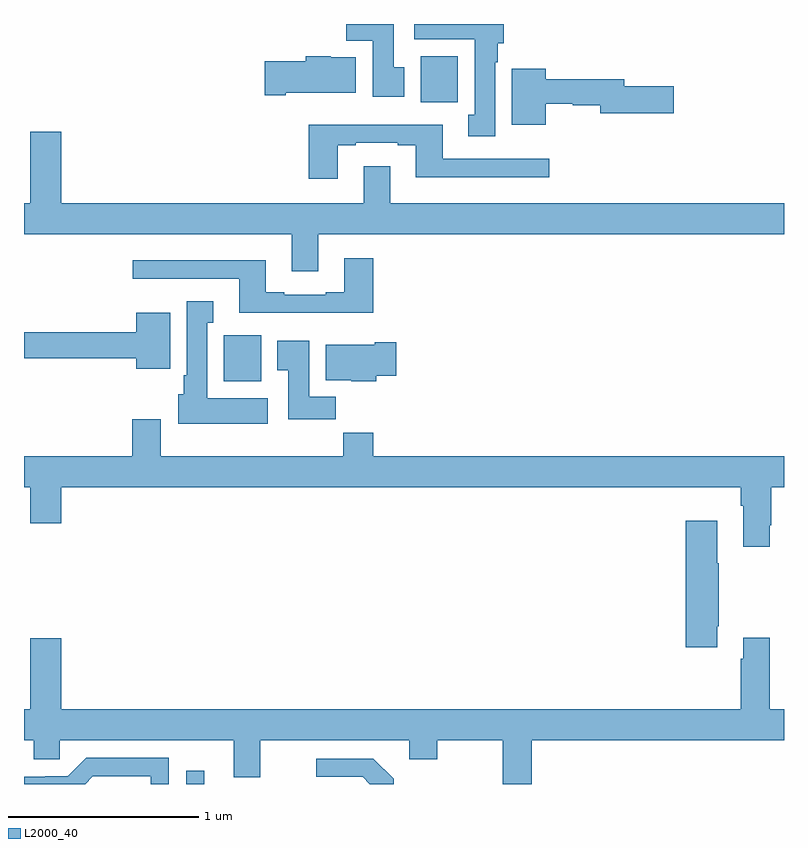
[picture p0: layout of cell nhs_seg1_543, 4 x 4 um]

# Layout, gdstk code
import gdstk
lib = gdstk.Library(unit=1e-6, precision=1e-09)
def R(c, l, rs):  # rectangles x0, y0, x1, y1
    for r in rs: c.add(gdstk.rectangle(r[:2], r[2:], *l))
def P(c, l, *ps):  # polygons
    for p in ps: c.add(gdstk.Polygon(p, *l))
L2000_40 = (2000, 40)

nhs_seg1_543 = lib.new_cell('nhs_seg1_543')
R(nhs_seg1_543, L2000_40, [(141.853,522.199,141.949,522.27), (142.052,524.318,142.249,524.56), (143.087,525.788,143.284,526.03)])
P(nhs_seg1_543, L2000_40, [(143.479,525.998),(143.494,525.998),(143.494,526.098),(143.524,526.098),(143.524,526.199),(143.055,526.199),(143.055,526.118),(143.372,526.118),(143.372,525.722),(143.339,525.722),(143.339,525.609),(143.479,525.609)],
  [(143.002,525.972),(142.945,525.972),(142.945,526.199),(142.696,526.199),(142.696,526.112),(142.835,526.112),(142.835,525.816),(143.002,525.816)],
  [(142.378,525.836),(142.747,525.836),(142.747,526.024),(142.614,526.024),(142.614,526.03),(142.484,526.03),(142.484,526.002),(142.266,526.002),(142.266,525.824),(142.378,525.824)],
  [(143.746,525.78),(143.889,525.78),(143.889,525.772),(144.032,525.772),(144.032,525.73),(144.421,525.73),(144.421,525.872),(144.16,525.872),(144.16,525.908),(143.746,525.908),(143.746,525.964),(143.567,525.964),(143.567,525.668),(143.746,525.668)],
  [(142.651,525.561),(142.747,525.561),(142.747,525.573),(142.967,525.573),(142.967,525.561),(143.063,525.561),(143.063,525.392),(143.764,525.392),(143.764,525.489),(143.203,525.489),(143.203,525.67),(142.499,525.67),(142.499,525.384),(142.651,525.384)],
  [(142.549,525.092),(145,525.092),(145,525.256),(142.927,525.256),(142.927,525.451),(142.787,525.451),(142.787,525.256),(141.196,525.256),(141.196,525.631),(141.032,525.631),(141.032,525.256),(141,525.256),(141,525.092),(142.409,525.092),(142.409,524.898),(142.549,524.898)],
  [(142.838,524.965),(142.685,524.965),(142.685,524.788),(142.589,524.788),(142.589,524.775),(142.369,524.775),(142.369,524.788),(142.273,524.788),(142.273,524.956),(141.573,524.956),(141.573,524.859),(142.133,524.859),(142.133,524.678),(142.838,524.678)],
  [(142.282,524.23),(141.964,524.23),(141.964,524.627),(141.997,524.627),(141.997,524.74),(141.857,524.74),(141.857,524.35),(141.842,524.35),(141.842,524.25),(141.812,524.25),(141.812,524.096),(142.282,524.096)],
  [(141.769,524.68),(141.59,524.68),(141.59,524.576),(141,524.576),(141,524.44),(141.59,524.44),(141.59,524.384),(141.769,524.384)],
  [(142.64,524.236),(142.501,524.236),(142.501,524.533),(142.334,524.533),(142.334,524.377),(142.391,524.377),(142.391,524.118),(142.64,524.118)],
  [(142.853,524.347),(142.96,524.347),(142.96,524.525),(142.847,524.525),(142.847,524.512),(142.589,524.512),(142.589,524.324),(142.722,524.324),(142.722,524.318),(142.853,524.318)],
  [(142.838,524.048),(142.681,524.048),(142.681,523.924),(141.721,523.924),(141.721,524.119),(141.569,524.119),(141.569,523.924),(141,523.924),(141,523.76),(141.032,523.76),(141.032,523.572),(141.196,523.572),(141.196,523.76),(144.773,523.76),(144.773,523.664),(144.785,523.664),(144.785,523.449),(144.925,523.449),(144.925,523.561),(144.933,523.561),(144.933,523.76),(145,523.76),(145,523.924),(142.838,523.924)],
  [(144.649,523.03),(144.657,523.03),(144.657,523.361),(144.649,523.361),(144.649,523.585),(144.482,523.585),(144.482,522.918),(144.649,522.918)],
  [(143.672,522.428),(145,522.428),(145,522.592),(144.925,522.592),(144.925,522.97),(144.785,522.97),(144.785,522.857),(144.773,522.857),(144.773,522.592),(141.196,522.592),(141.196,522.967),(141.032,522.967),(141.032,522.592),(141,522.592),(141,522.428),(141.051,522.428),(141.051,522.33),(141.189,522.33),(141.189,522.428),(142.103,522.428),(142.103,522.234),(142.243,522.234),(142.243,522.428),(143.027,522.428),(143.027,522.329),(143.175,522.329),(143.175,522.428),(143.519,522.428),(143.519,522.199),(143.672,522.199)],
  [(141.363,522.24),(141.666,522.24),(141.666,522.199),(141.762,522.199),(141.762,522.336),(141.327,522.336),(141.231,522.24),(141.113,522.24),(141.113,522.237),(141,522.237),(141,522.199),(141.322,522.199)],
  [(142.945,522.227),(142.839,522.333),(142.539,522.333),(142.539,522.237),(142.782,522.237),(142.82,522.199),(142.945,522.199)])

lib.write_gds('nhs_seg1_543.gds')
